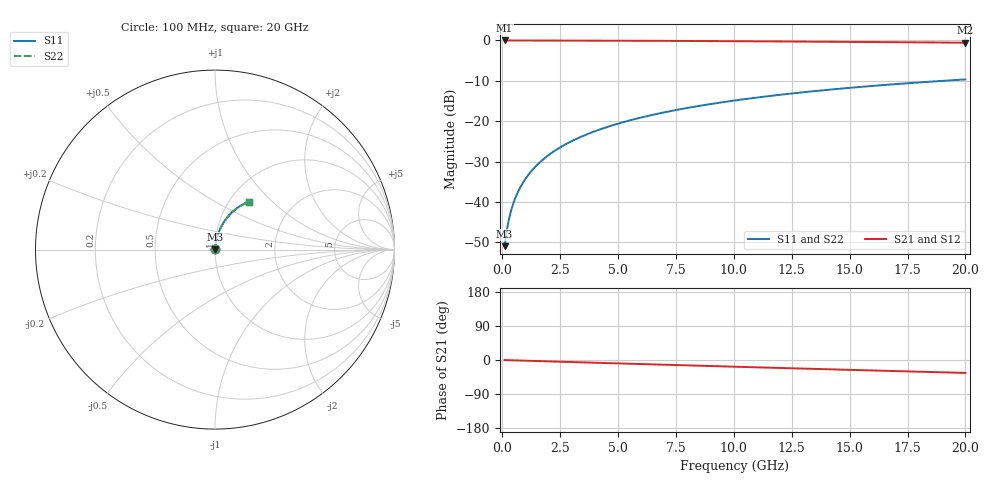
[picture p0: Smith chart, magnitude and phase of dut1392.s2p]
! Touchstone file exported from HFSS 2026.1.0
!  File:  C:/ffzhzh/LocalFiles/Ansys_Project_Files/temp_train_BSMRDL_1392_1783179729_55132.aedt
!  Generated:  11:43:19 PM Jul  4, 2026
!  Design:  BSMRDL
!  Project:  temp_train_BSMRDL_1392_1783179729_55132
! Variables:
!  h_bsmrdl = 4.11um
!  h_ox = 20um
!  h_rdl = 5um
!  h_sub = 80um
!  h_tmrdl = 5um
!  h_tsv = 80um
!  h_via = 3um
!  l_bsmrdl = 470.36um
!  l_sub = 870.36um
!  l_tmrdl = 200um
!  m_sub = 200um
!  pitch = 52.81um
!  r_tsv = 6um
!  s_tmrdl = 10um
!  w_bsmrdl = 23.06um
!  w_sub = 500um
!  w_tmrdl = 12um
!  x_tsv_center1 = 206um
!  x_tsv_center2 = 699.42um
!  x_tsv_center3 = 911.42um
!  x_tsv_center4 = 1404.84um
!  x_tsv_center5 = 1616.84um
!  x_tsv_center6 = 2110.26um
# GHz S MA R 50.000000
! Terminal data exported
! Port[1] = BSM_RDL1_1_T1
! Port[2] = BSM_RDL1_1_T2
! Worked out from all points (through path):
!   200 points, 100 MHz to 20 GHz, reference 50 ohm
!   highest |S21| = -0.02 dB at 100 MHz (marker M1); lowest = -0.6 dB at 20 GHz (marker M2)
!   group delay of S21, straight-line fit = 4.73 ps
!   lowest |S11| = -50.9 dB at 100 MHz (marker M3), VSWR 1.01, Z = 50.2 + j0.206 ohm
!   |S11| at or under -10 dB: start of sweep to 19.06 GHz
!   |S22| runs from -50.9 to -9.7 dB; largest |S21 - S12| = 3.1e-15
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0.1  0.002835 46.4  0.998 -0.2  0.998 -0.2  0.002835 46.4
! Gamma 0 0 0 0
! Port Impedance 50 0 50 0
0.2  0.004547 62.7  0.9979 -0.4  0.9979 -0.4  0.004547 62.7
0.3  0.006367 69.6  0.9978 -0.6  0.9978 -0.6  0.006368 69.6
0.4  0.0082 73.3  0.9977 -0.7  0.9977 -0.7  0.0082 73.3
0.5  0.01004 75.7  0.9976 -0.9  0.9976 -0.9  0.01004 75.7
0.7  0.01373 78.6  0.9975 -1.3  0.9975 -1.3  0.01373 78.6
0.8  0.01559 79.5  0.9975 -1.5  0.9975 -1.5  0.01559 79.5
1  0.01932 80.7  0.9973 -1.8  0.9973 -1.8  0.01932 80.7
1.2  0.02306 81.4  0.9972 -2.2  0.9972 -2.2  0.02306 81.4
1.4  0.0268 81.8  0.9971 -2.6  0.9971 -2.6  0.0268 81.8
1.7  0.03243 82.1  0.9968 -3.1  0.9968 -3.1  0.03243 82.1
2  0.03804 82.1  0.9965 -3.6  0.9965 -3.6  0.03804 82.1
2.7  0.0511 81.6  0.9956 -4.9  0.9956 -4.9  0.0511 81.6
3.5  0.0659 80.7  0.9944 -6.3  0.9944 -6.3  0.0659 80.7
4.2  0.07872 79.7  0.9931 -7.6  0.9931 -7.6  0.07872 79.6
5  0.09321 78.4  0.9914 -9.0  0.9914 -9.0  0.09321 78.4
6.8  0.1251 75.5  0.9871 -12.2  0.9871 -12.2  0.1251 75.5
8.3  0.1511 73.1  0.9828 -14.8  0.9828 -14.8  0.1511 73.1
10.1  0.1813 70.2  0.9771 -17.9  0.9771 -17.9  0.1813 70.1
13.4  0.2342 64.8  0.9649 -23.4  0.9649 -23.4  0.2342 64.8
16.7  0.2835 59.6  0.9511 -28.8  0.9511 -28.8  0.2835 59.6
20  0.3286 54.5  0.9361 -34.1  0.9361 -34.1  0.3286 54.5
